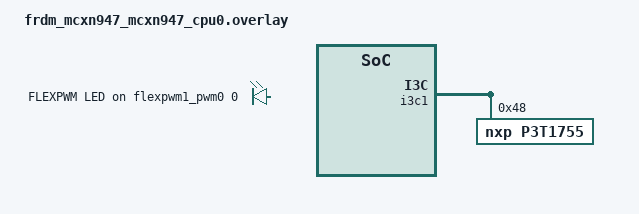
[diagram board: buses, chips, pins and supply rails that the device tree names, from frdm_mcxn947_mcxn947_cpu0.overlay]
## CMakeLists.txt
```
# SPDX-License-Identifier: Apache-2.0

# 设定CMake最低版本门槛
cmake_minimum_required(VERSION 3.20.0)

# 告诉 Zephyr 在哪里找自定义的设备树绑定文件
list(APPEND DTC_OVERLAY_FILE "${CMAKE_CURRENT_SOURCE_DIR}/frdm_mcxn947_mcxn947_cpu0.overlay")

# 设置自定义设备树绑定文件 (Bindings) 的搜索根目录。
# ${CMAKE_CURRENT_SOURCE_DIR} 指的是当前 CMakeLists.txt 所在的文件夹路径。
# 这行代码告诉 Zephyr 编译器：“除了去内核找硬件定义，也去我当前的项目目录下找找（通常是 dts/bindings 目录）”。
# 这样你写的 custom,sh1106.yaml 才能被系统识别。
set(DTS_ROOT ${CMAKE_CURRENT_SOURCE_DIR})

# 引入 Zephyr 编译框架的核心包。
# REQUIRED 表示这个包是必须的，找不到就直接报错停止。
# HINTS $ENV{ZEPHYR_BASE} 是给编译器一个“线索”，告诉它去环境变量 ZEPHYR_BASE 指向的路径找 Zephyr。
# 执行完这一行后，Zephyr 的所有编译规则、库文件、驱动框架都会被加载进你的项目中。
find_package(Zephyr REQUIRED HINTS $ENV{ZEPHYR_BASE})

# 定义当前项目的名称。
# 这里将项目命名为 "application"。这个名字会影响最终生成的二进制文件名（如 application.elf）。
# 它必须放在 find_package(Zephyr ...) 之后，因为 Zephyr 需要先初始化环境才能支持后续的项目定义。
project(application)

# 添加应用程序私有的头文件目录
# PRIVATE 表示这个 include 路径只对当前 app target 有效
target_include_directories(app PRIVATE
    include
    drivers/include
)

# 添加所有源文件到应用程序目标
target_sources(app PRIVATE
    src/main.c
    src/led_thread.c
    src/temp_thread.c
)
```

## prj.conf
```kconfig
#
# Kernel & System (内核与系统基础)
#
# 定义系统时钟滴答的频率
CONFIG_SYS_CLOCK_TICKS_PER_SEC=1000
# 启用 Newlib C 库
CONFIG_NEWLIB_LIBC=y
# LVGL初始化或文件系统操作会复用main stack，因此需要增加 main stack size
CONFIG_MAIN_STACK_SIZE=4096
# 开启 Zephyr 的输入子系统
CONFIG_INPUT=y

#
# ==========================================================
# 第一部分：Console (控制台) - 解决“信息从哪发出来”
# ==========================================================
# 启用控制台基础功能
CONFIG_CONSOLE=y

# 【关键点】必须为 y！
# 它是内核启动早期（Shell还没启动时）打印 Zephyr 版本信息的唯一通道。
# 如果设为 n，你将看不到 "*** Booting Zephyr OS ***" 这一行。
CONFIG_UART_CONSOLE=y

# 允许 printk 函数将信息发送到控制台
CONFIG_STDOUT_CONSOLE=y

# ==========================================================
# 第二部分：Logging (日志) - 解决“系统发生了什么”
# ==========================================================
# 启用日志系统
CONFIG_LOG=y

# 设置日志的显示模式
# 由于我们要用 Shell 来显示日志，所以禁用掉原始的 UART 直接输出模式，
# 防止日志和 Shell 的字符在屏幕上打架（乱码）。
CONFIG_LOG_BACKEND_UART=n

# 允许 printk 输出的信息也被当作日志处理
CONFIG_LOG_PRINTK=y

# 日志级别设置（4 是最高级别 INFO，能看到大部分信息）
CONFIG_LOG_MAX_LEVEL=4

# ==========================================================
# 第三部分：Shell (外壳) - 解决“如何与开发板交互”
# ==========================================================
# 启用 Shell 功能
CONFIG_SHELL=y
CONFIG_SHELL_BACKENDS=y

# 启用串口作为 Shell 的后端（让你可以通过串口助手输入命令）
CONFIG_SHELL_BACKEND_SERIAL=y

# 启用 Shell 的日志后端
# 作用：让 Shell 接管 Log 系统的输出。
# 开启后，当系统产生日志时，Shell 会整齐地把它打印出来，
# 并且不会打断你正在输入的命令行（它会自动处理换行和光标）。
CONFIG_SHELL_LOG_BACKEND=y

# 设置 Shell 提示符，你在串口看到的就会是 my_board:~$
CONFIG_SHELL_PROMPT_UART="zephyr:~$ "

# ==========================================================
# 文件系统 - 解决“如何访问外部存储设备”
# ==========================================================
# 开启文件系统子系统
# CONFIG_FILE_SYSTEM=y
# 开启 LittleFS 软件库
# CONFIG_FILE_SYSTEM_LITTLEFS=y
# 开启 Flash 映射，这样才能通过 label 找到分区
# CONFIG_FLASH_MAP=y
# 开启 Flash 页面布局 API
# CONFIG_FLASH_PAGE_LAYOUT=y
# 启用 Shell 文件系统命令（如 ls、cat、mkdir 等）
# CONFIG_FILE_SYSTEM_SHELL=y

# 开启传感器子系统
CONFIG_SENSOR=y

#
# Core Drivers: Serial/UART (核心驱动：串行/UART)
#
# 启用串行子系统
CONFIG_SERIAL=y
# 启用中断驱动模式 (高效)
CONFIG_UART_INTERRUPT_DRIVEN=y

# 启用浮点支持，以便在日志中打印浮点数
CONFIG_CBPRINTF_FP_SUPPORT=y

# 启用 DMA 核心支持
# CONFIG_DMA=y

# 启用 PWM
# CONFIG_PWM=y
# CONFIG_PWM_STM32=y

#
# Core Drivers: GPIO (通用输入/输出)
#
# 启用 GPIO 核心支持
CONFIG_GPIO=y
# 启用 STM32 硬件 GPIO 驱动
# CONFIG_GPIO_STM32=y

#
# Core Drivers: I3C
#
# 启用 I3C 核心支持
CONFIG_I2C=y
# 开启软件模拟 I2C 驱动
# CONFIG_I2C_GPIO=y
# 启用 STM32 硬件 I2C 驱动
# CONFIG_I2C_STM32=y
# 启用中断驱动模式
# CONFIG_I2C_STM32_INTERRUPT=y

#
# Core Drivers: I3C
#
# 启用 I3C 核心支持
CONFIG_I3C=y

#
# Core Drivers: QSPI/Flash (W25Q128)
#
# 启用 Flash API 核心支持
# CONFIG_FLASH=y
# 启用使用 STM32 HAL 库实现的 QSPI 驱动
# CONFIG_FLASH_STM32_QSPI=y
# 启用 STM32 内存映射模式支持 (直接访问外部 Flash)
# CONFIG_STM32_MEMMAP=y

#
# Core Drivers: Standard SPI
#
# 启用标准 SPI 核心支持 (如果需要连接 SPI 传感器/屏幕)
# CONFIG_SPI=y
# CONFIG_SPI_STM32=y
# 暂时关闭 SPI DMA 传输，强制使用轮询/中断模式
# CONFIG_SPI_STM32_DMA=n
# 启用 SPI DMA 传输
# CONFIG_SPI_STM32_DMA=y
# 建议开启日志以便调试
# CONFIG_SPI_LOG_LEVEL_DBG=y

#
# Core Drivers: RTC (实时时钟)
#
# 启用 RTC 核心支持
# CONFIG_RTC=y
# 启用 STM32 硬件 RTC 驱动
# CONFIG_RTC_STM32=y
# 启用 RTC 闹钟功能
# CONFIG_RTC_ALARM=y

#
# Core Drivers: LED (发光二极管)
#
# 启用 LED 核心驱动框架
CONFIG_LED=y
# 启用 GPIO LED 驱动 (用于开关控制)
CONFIG_LED_GPIO=y
# 启用 PWM LED 驱动 (用于亮度调节)
# CONFIG_LED_PWM=y

#
# Core Drivers: Pin Controller and HW Info (引脚控制器与硬件信息)
#
# 启用引脚控制器核心支持
# CONFIG_PINCTRL=y
# 启用 STM32 引脚控制器驱动
# CONFIG_PINCTRL_STM32=y
# 启用硬件信息核心支持
# CONFIG_HWINFO=y
# 启用 STM32 硬件信息驱动 (读取芯片ID等)
# CONFIG_HWINFO_STM32=y

#
# 12. Display Driver (显示驱动 - LCD)
#
# 启用显示子系统
# CONFIG_DISPLAY=y

# 使用 SSD1306 OLED 驱动 (I2C)
# Disable Zephyr built-in SSD1306 driver to use our custom driver
# CONFIG_SSD1306 is not set

# LVGL GUI
# CONFIG_LVGL=y
# 关闭 LVGL 的自动显示初始化功能，我们会在 display_thread.c 中手动初始化
# CONFIG_LV_Z_NO_INIT_DISPLAY=y
# LVGL 颜色深度设置
# CONFIG_LV_COLOR_DEPTH_16=y
# 设置 LVGL 每个像素占用的字节数 (16 位颜色即 2 字节)
# CONFIG_LV_Z_BITS_PER_PIXEL=16
# LVGL 内存池大小设置,给控件之类使用 (16 KB)
# CONFIG_LV_Z_MEM_POOL_SIZE=16384
# 将 LVGL 内存池放在 Zephyr 的 Memory Region 中，允许我们指定它放在 SRAM1
# CONFIG_LV_Z_MEMORY_POOL_ZEPHYR_REGION=y
# 指定设备树中的 SRAM1 区域作为 LVGL 内存池的存放位置
# CONFIG_LV_Z_MEMORY_POOL_ZEPHYR_REGION_NAME="SRAM1"
# 绘图缓冲区（画布大小，240x240/10 像素）
# CONFIG_LV_Z_VDB_SIZE=10
# 显存位置重定向 (使用 Memory Region 模式)
# 开启内存域放置功能，允许我们指定显存放在特定的内存区域（如 SDRAM）
# CONFIG_LV_Z_VDB_ZEPHYR_REGION=y
# 指定设备树中的 SRAM1 区域
# CONFIG_LV_Z_VDB_ZEPHYR_REGION_NAME="SRAM1"
# 启用 Montserrat 字体支持
# CONFIG_LV_FONT_MONTSERRAT_24=y
# CONFIG_LV_FONT_MONTSERRAT_32=y
# CONFIG_LV_FONT_MONTSERRAT_48=y
# 启用 16 位颜色字节交换 (RGB565 格式)
# 如果不开启 SWAP:数据存储顺序可能是 [高8位] [低8位](Big Endian)。
# 开启 SWAP 后：数据会被软件强制变成 [低8位] [高8位](Little Endian)。
# SPI 接口发送数据通常是按字节发送的,如果MCU是小端模式(Little Endian),
# 而屏幕期望的是大端数据（或者反过来）,像素传过去后,字节顺序反了.
# 现象:屏幕能显示图像,但颜色非常诡异,像杂色、花屏,或者颜色有颗粒感.
# CONFIG_LV_COLOR_16_SWAP=y
# LVGL默认字体设置
# CONFIG_LV_FONT_DEFAULT_MONTSERRAT_8=y
# LVGL组件开关(默认开启了很多组件，根据需要关闭)
# CONFIG_LV_USE_LABEL=n
# 开启LVGL Demo
# CONFIG_LV_BUILD_DEMOS=y
# 开启基础控件 Demo
# CONFIG_LV_USE_DEMO_WIDGETS=y
# 开启基准测试 Demo
# CONFIG_LV_USE_DEMO_BENCHMARK=y
# 智能手表 Demo
# CONFIG_LV_USE_DEMO_SMARTWATCH=y

# --- 必须开启的核心统计开关 ---
# 这个开关允许 Zephyr 追踪堆内存的使用情况
# CONFIG_SYS_HEAP_RUNTIME_STATS=y
# 启用 LVGL 监控功能
# CONFIG_LV_USE_SYSMON=y
# 允许 LVGL 监控内存使用情况(自带的适合大屏幕，小屏幕用不了)
# CONFIG_LV_USE_MEM_MONITOR=y
# 提高 LVGL 自身的日志级别，观察它在初始化驱动时到底卡在哪了
# CONFIG_LV_USE_LOG=y

# Display 日志级别
# CONFIG_DISPLAY_LOG_LEVEL_DBG=y
# CONFIG_I2C_LOG_LEVEL_DBG=y
# CONFIG_SPI_LOG_LEVEL_DBG=y
```

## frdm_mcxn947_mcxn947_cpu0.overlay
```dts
/* frdm_mcxn947_mcxn947_cpu0.overlay */

/* 必须包含这个文件，才能使用 PWM_MSEC 和 PWM_POLARITY_NORMAL 等宏 */
#include <zephyr/dt-bindings/pwm/pwm.h>
/* 必须包含这个文件，才能使用 DT_FREQ_K 和 DT_FREQ_M 等宏 */
#include <freq.h>

/ {
    aliases {
        pwm-led0 = &flex_pwm_led;
        ambient-temp0 = &p3t1755;
    };

    pwmleds {
        compatible = "pwm-leds";
        status = "okay";

        flex_pwm_led: flex_pwm_led {
            /* 引用 flexpwm1_pwm0 模块 */
            /* 参数：<控制器 通道(0) 默认周期(20ms) 极性> */
            pwms = <&flexpwm1_pwm0 0 PWM_MSEC(1) PWM_POLARITY_NORMAL>;
            label = "FLEXPWM LED";
        };
    };
};

&i3c1 {
	status = "okay";

	i2c-scl-hz = <DT_FREQ_K(400)>;
	i3c-scl-hz = <DT_FREQ_M(4)>;
	i3c-od-scl-hz = <DT_FREQ_K(1500)>;

	p3t1755: p3t1755@4800000236152a0090 {
		compatible = "nxp,p3t1755";
		reg = <0x48 0x0236 0x152a0090>;
		status = "okay";
	};
};
```

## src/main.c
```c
/* * 包含 Zephyr 内核头文件 
 */
#include <zephyr/kernel.h>
#include <zephyr/sys/printk.h>
#include <zephyr/logging/log.h>

/* * 注册当前文件的日志模块，名字叫 "main"
 */
LOG_MODULE_REGISTER(main, LOG_LEVEL_INF);

int main(void)
{
    /* * 延时一小段时间，确保串口助手已经打开并准备好接收 
     */
    k_msleep(100);

    /* 使用 printk 打印简单字符串 */
    printk("\n------------------------------------------\n");
    printk("Hello World! FRDM-MCXN947 Zephyr Project\n");
    printk("Build Time: %s %s\n", __DATE__, __TIME__);
    printk("------------------------------------------\n");

    /* 使用 LOG 模块打印带格式的信息 */
    LOG_INF("系统初始化成功，准备退出main函数...");

    return 0;
}
```

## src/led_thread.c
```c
#include <zephyr/kernel.h>
#include <zephyr/drivers/gpio.h>
#include <zephyr/drivers/pwm.h>
#include <zephyr/logging/log.h>
#include "led_thread.h"

// 启用日志记录
LOG_MODULE_REGISTER(LED_TASK, LOG_LEVEL_INF);

/* ---------------- 配置参数 ---------------- */
#define TOTAL_STEPS         10    // 1秒内总共调整10次
#define TOTAL_TIME_MS       1000  // 1000 毫秒
#define STEP_DELAY_MS       (TOTAL_TIME_MS / TOTAL_STEPS) // 每次调整间隔 100ms

/* GPIO_DT_SPEC_GET(node_id, property)： 这是Zephyr提供的另一个宏，
* 用于从指定的设备节点ID (LED1_NODE) 中提取名为 property 的属性值，
* 并将其封装成 struct gpio_dt_spec。
* 这里的 gpios 是一个标准的设备树属性名。
*/
static const struct gpio_dt_spec led = GPIO_DT_SPEC_GET(DT_ALIAS(led0), gpios);
// 从设备树中获取定义的 PWM LED 节点
static const struct pwm_dt_spec pwm_led = PWM_DT_SPEC_GET(DT_ALIAS(pwm_led0));

void led_thread_entry(void *p1, void *p2, void *p3)
{
    k_msleep(100);
    
    // ... 在这里初始化您的 LED 设备 ...
    LOG_INF("LED Thread started");

    int ret;
	uint32_t step_count = 0;
    uint32_t pulse_width = 0;
    uint8_t brightness_percent = 0;

	/* 初始化 GPIO (LED) */
    if (!gpio_is_ready_dt(&led)) {
        LOG_ERR("GPIO device not ready");
        return;
    }

    /* 检查 PWM 设备 */
    if (!pwm_is_ready_dt(&pwm_led)) {
        LOG_ERR("PWM device not ready");
        return;
    }

	ret = gpio_pin_configure_dt(&led, GPIO_OUTPUT_ACTIVE);
	if (ret < 0) {
		LOG_ERR("Error: Failed to configure LED pin (ret=%d)", ret);
        while(1) { return; } 
	}
	k_msleep(1000); // 等待 1 秒
	gpio_pin_toggle_dt(&led);
	LOG_DBG("GPIO LED Toggled!");


    while (1) {
		/* --- 1. 计算亮度 (0-100-0) --- */
        // step_count 从 0 增加到 19
        if (step_count < 5) {
            // 前 10 次：从 0% 增加到 90%
            brightness_percent = step_count * 10;
        } else {
            // 后 10 次：从 100% 减少到 1%
            brightness_percent = 100 - step_count * 10;
        }

        /* --- 2. 设置 PWM 亮度 --- */
        // 计算脉冲宽度: 周期 * 百分比 / 100
        pulse_width = (pwm_led.period / 100) * brightness_percent;
        
        ret = pwm_set_dt(&pwm_led, pwm_led.period, pulse_width);
        if (ret < 0) {
            LOG_ERR("Failed to set PWM: %d", ret);
        } else {
			LOG_DBG("PWM set: Brightness %d%%, Pulse Width %u ns",
					brightness_percent, pulse_width);
		}

		/* --- 3. 每 1 分钟切换一次 GPIO LED 状态 --- */
        // 每 20 次步进（即一秒钟）翻转一次
        if (step_count == 0) {
            gpio_pin_toggle_dt(&led);
            LOG_DBG("GPIO LED Toggled, Restarting PWM Cycle");
        }

        /* --- 4. 步进控制 --- */
        step_count++;
        if (step_count >= TOTAL_STEPS) {
            step_count = 0; // 重置计数器，开始下一个一分钟
        }

        /* 休眠 300ms */
        k_msleep(STEP_DELAY_MS);
    }
}

// 线程栈和定义
#define LED_STACK_SIZE 1024
#define LED_PRIORITY 15

K_THREAD_DEFINE(led_tid, LED_STACK_SIZE, 
                led_thread_entry, NULL, NULL, NULL,
                LED_PRIORITY, 0, 0);
```

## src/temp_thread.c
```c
#include <zephyr/kernel.h>
#include <zephyr/device.h>
#include <zephyr/drivers/sensor.h>
#include <zephyr/logging/log.h>

// 启用日志记录
LOG_MODULE_REGISTER(TEMP_TASK, LOG_LEVEL_INF);

/* 
* 获取设备树中定义的传感器设备句柄
*/
static const struct device *const dev = DEVICE_DT_GET(DT_NODELABEL(p3t1755));

void temp_thread_entry(void *p1, void *p2, void *p3)
{
    k_msleep(100);
    
    // ... 在这里初始化您的 LED 设备 ...
    LOG_INF("TEMP Thread started");

    /* 检查设备是否准备就绪 */
    if (!device_is_ready(dev)) {
        LOG_ERR("传感器设备 %s 未就绪，请检查硬件连接和 Overlay 配置！", dev->name);
        return;
    }

	LOG_INF("成功找到 P3T1755 温度传感器，开始读取数据...");

    struct sensor_value temp_val;

    while (1) {
        /* 触发一次传感器数据采集 */
        int rc = sensor_sample_fetch(dev);
        if (rc < 0) {
            LOG_ERR("数据采集失败 (错误代码: %d)", rc);
        } else {
            /* 获取环境温度通道的值 */
            rc = sensor_channel_get(dev, SENSOR_CHAN_AMBIENT_TEMP, &temp_val);
            if (rc < 0) {
                LOG_ERR("获取通道数据失败 (错误代码: %d)", rc);
            } else {
                /* 打印温度结果（Zephyr 将浮点数拆分为整数 val1 和小数 val2） */
                // LOG_INF("当前温度: %d.%02d °C", temp_val.val1, temp_val.val2);
                double temp_double = sensor_value_to_double(&temp_val);
                /* 使用 %.2f 表示保留两位小数 */
                LOG_INF("当前温度: %.2f °C", temp_double);
            }
        }

        /* 每隔 2 秒读取一次 */
        k_msleep(2000);
    }
}

// 线程栈和定义
#define TEMP_STACK_SIZE 1024
#define TEMP_PRIORITY 13

K_THREAD_DEFINE(temp_tid, TEMP_STACK_SIZE, 
                temp_thread_entry, NULL, NULL, NULL,
                TEMP_PRIORITY, 0, 0);
```
